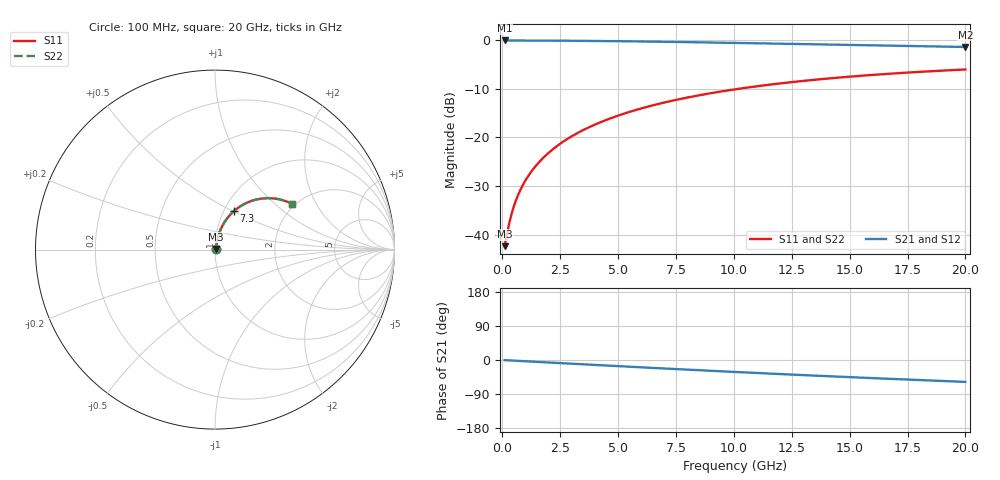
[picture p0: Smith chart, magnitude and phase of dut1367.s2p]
! Touchstone file exported from HFSS 2026.1.0
!  File:  C:/ffzhzh/LocalFiles/Ansys_Project_Files/temp_train_TMRDL_1367_1783165816_51560.aedt
!  Generated:  07:51:55 PM Jul  4, 2026
!  Design:  TMRDL
!  Project:  temp_train_TMRDL_1367_1783165816_51560
! Variables:
!  h_bsmrdl = 2um
!  h_ox = 20um
!  h_rdl = 5um
!  h_sub = 80um
!  h_tmrdl = 2.62um
!  h_tsv = 80um
!  h_via = 3um
!  l_bsmrdl = 300um
!  l_sub = 1292.94um
!  l_tmrdl = 892.94um
!  m_sub = 200um
!  pitch = 42.99um
!  r_tsv = 6um
!  s_tmrdl = 10um
!  w_bsmrdl = 18um
!  w_sub = 500um
!  w_tmrdl = 18.57um
!  x_tsv_center1 = 902.225um
!  x_tsv_center2 = 1220.225um
!  x_tsv_center3 = 2131.735um
!  x_tsv_center4 = 2449.735um
!  x_tsv_center5 = 3361.245um
!  x_tsv_center6 = 3679.245um
# GHz S MA R 50.000000
! Terminal data exported
! Port[1] = TM_RDL1_1_T1
! Port[2] = TM_RDL1_1_T2
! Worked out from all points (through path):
!   200 points, 100 MHz to 20 GHz, reference 50 ohm
!   highest |S21| = -0.06 dB at 100 MHz (marker M1); lowest = -1.4 dB at 20 GHz (marker M2)
!   group delay of S21, straight-line fit = 8.04 ps
!   lowest |S11| = -42.4 dB at 100 MHz (marker M3), VSWR 1.02, Z = 50.7 + j0.379 ohm
!   |S11| at or under -10 dB: start of sweep to 10.21 GHz
!   |S22| runs from -42.4 to -6.0 dB; largest |S21 - S12| = 3.3e-15
!   S11 on the Smith chart (normalised r, x): 100 MHz: 1.01, +0.01; 7.3 GHz: 1.11, +0.50; 20 GHz: 1.93, +1.31
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0.1  0.007616 29.4  0.9934 -0.3  0.9934 -0.3  0.007616 29.4
! Gamma 0 0 0 0
! Port Impedance 50 0 50 0
0.3  0.01314 56.9  0.993 -1.0  0.993 -1.0  0.01314 56.9
0.4  0.01635 62.5  0.9927 -1.4  0.9927 -1.4  0.01635 62.5
0.5  0.01962 66.1  0.9924 -1.7  0.9924 -1.7  0.01962 66.1
0.6  0.0229 68.6  0.9922 -2.0  0.9922 -2.0  0.0229 68.6
0.8  0.02948 71.8  0.9917 -2.7  0.9917 -2.7  0.02948 71.8
1  0.03609 73.7  0.9913 -3.3  0.9913 -3.3  0.03609 73.7
1.2  0.04273 74.9  0.9909 -4.0  0.9909 -4.0  0.04273 74.9
1.4  0.04939 75.6  0.9905 -4.6  0.9905 -4.6  0.04939 75.6
1.7  0.05941 76.2  0.9898 -5.6  0.9898 -5.6  0.05941 76.2
2.2  0.07612 76.2  0.9885 -7.2  0.9885 -7.2  0.07612 76.2
2.8  0.09611 75.5  0.9865 -9.2  0.9865 -9.2  0.09611 75.5
3.5  0.1192 74.1  0.9837 -11.4  0.9837 -11.4  0.1192 74.2
4.2  0.142 72.5  0.9804 -13.7  0.9804 -13.7  0.142 72.5
5  0.1676 70.4  0.976 -16.2  0.976 -16.2  0.1676 70.4
6.8  0.2227 65.4  0.9642 -21.8  0.9642 -21.8  0.2227 65.4
7.3  0.2373 63.9  0.9604 -23.4  0.9604 -23.4  0.2373 64.0
8.6  0.274 60.2  0.95 -27.3  0.95 -27.3  0.274 60.3
10.1  0.3135 56.0  0.9371 -31.7  0.9371 -31.7  0.3135 56.1
13.4  0.3898 47.0  0.9071 -41.0  0.9071 -41.0  0.3898 47.1
16.7  0.4515 38.5  0.8776 -49.6  0.8776 -49.6  0.4515 38.6
20  0.4998 30.5  0.8512 -57.8  0.8512 -57.8  0.4998 30.7
